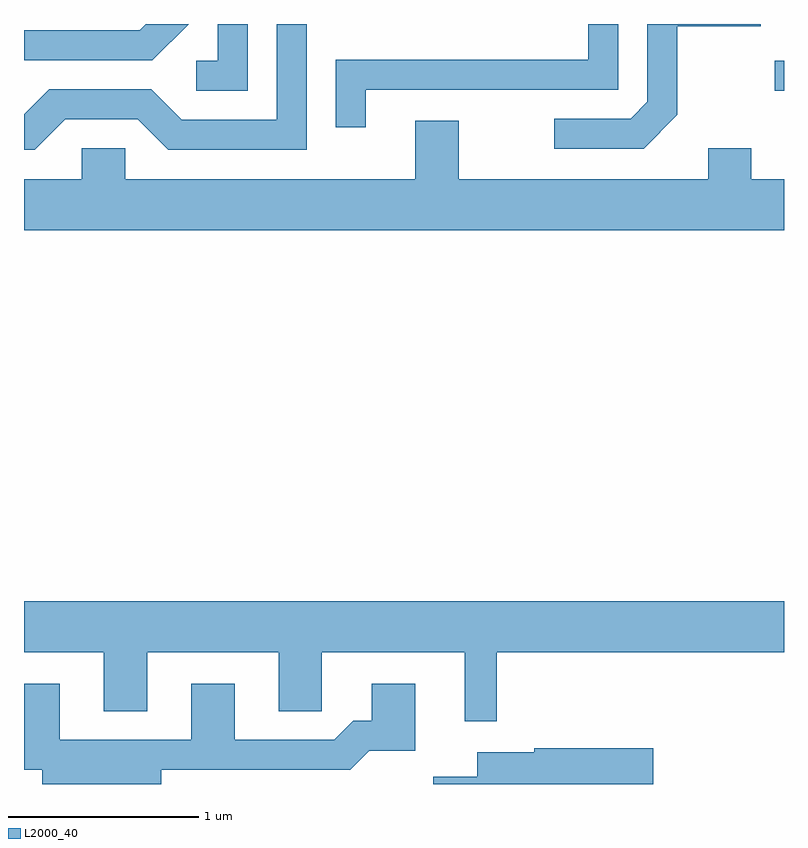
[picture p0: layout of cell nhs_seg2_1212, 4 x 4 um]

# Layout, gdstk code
import gdstk
lib = gdstk.Library(unit=1e-6, precision=1e-09)
def R(c, l, rs):  # rectangles x0, y0, x1, y1
    for r in rs: c.add(gdstk.rectangle(r[:2], r[2:], *l))
def P(c, l, *ps):  # polygons
    for p in ps: c.add(gdstk.Polygon(p, *l))
L2000_40 = (2000, 40)

nhs_seg2_1212 = lib.new_cell('nhs_seg2_1212')
R(nhs_seg2_1212, L2000_40, [(223.563,1093.451,223.611,1093.609)])
P(nhs_seg2_1212, L2000_40, [(223.049,1093.324),(223.049,1093.791),(223.489,1093.791),(223.489,1093.802),(222.891,1093.802),(222.891,1093.392),(222.804,1093.304),(222.403,1093.304),(222.403,1093.146),(222.872,1093.146)],
  [(219.827,1093.301),(220.209,1093.301),(220.369,1093.141),(221.099,1093.141),(221.099,1093.802),(220.941,1093.802),(220.941,1093.299),(220.442,1093.299),(220.282,1093.459),(219.744,1093.459),(219.611,1093.326),(219.611,1093.141),(219.667,1093.141)],
  [(220.789,1093.802),(220.631,1093.802),(220.631,1093.609),(220.518,1093.609),(220.518,1093.451),(220.789,1093.451)],
  [(221.409,1093.456),(222.739,1093.456),(222.739,1093.802),(222.581,1093.802),(222.581,1093.614),(221.251,1093.614),(221.251,1093.258),(221.409,1093.258)],
  [(220.477,1093.802),(220.252,1093.802),(220.219,1093.769),(219.611,1093.769),(219.611,1093.611),(220.287,1093.611)],
  [(223.611,1092.984),(223.439,1092.984),(223.439,1093.149),(223.211,1093.149),(223.211,1092.984),(221.899,1092.984),(221.899,1093.294),(221.671,1093.294),(221.671,1092.984),(220.144,1092.984),(220.144,1093.149),(219.916,1093.149),(219.916,1092.984),(219.611,1092.984),(219.611,1092.716),(223.611,1092.716)],
  [(222.099,1090.496),(223.611,1090.496),(223.611,1090.764),(219.611,1090.764),(219.611,1090.496),(220.031,1090.496),(220.031,1090.186),(220.259,1090.186),(220.259,1090.496),(220.951,1090.496),(220.951,1090.186),(221.179,1090.186),(221.179,1090.496),(221.931,1090.496),(221.931,1090.133),(222.099,1090.133)],
  [(220.334,1089.876),(221.327,1089.876),(221.427,1089.976),(221.669,1089.976),(221.669,1090.329),(221.441,1090.329),(221.441,1090.134),(221.344,1090.134),(221.244,1090.034),(220.719,1090.034),(220.719,1090.329),(220.491,1090.329),(220.491,1090.034),(219.799,1090.034),(219.799,1090.329),(219.611,1090.329),(219.611,1089.876),(219.706,1089.876),(219.706,1089.802),(220.334,1089.802)],
  [(222.924,1089.989),(222.296,1089.989),(222.296,1089.969),(221.996,1089.969),(221.996,1089.839),(221.766,1089.839),(221.766,1089.802),(222.924,1089.802)])

lib.write_gds('nhs_seg2_1212.gds')
